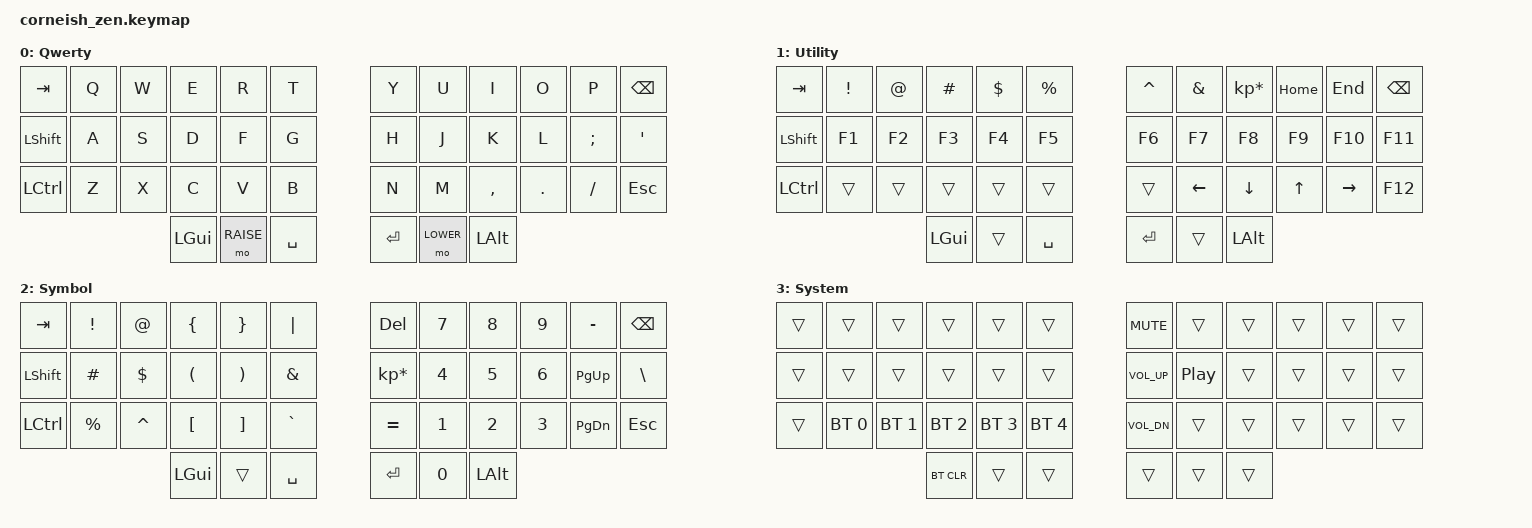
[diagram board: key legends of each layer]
#include <behaviors.dtsi>
#include <dt-bindings/zmk/keys.h>
#include <dt-bindings/zmk/bt.h>

#define DEFAULT 0
#define LOWER   1
#define RAISE   2
#define SYSTEM  3

/ {
  chosen {
    zmk,matrix_transform = &default_transform;
  };
};

/ {
    conditional_layers {
        compatible = "zmk,conditional-layers";
        tri_layer {
            if-layers = <LOWER RAISE>;
            then-layer = <SYSTEM>;
        };
    };
};

/ {

        keymap {
                compatible = "zmk,keymap";

                default_layer {
                        label = "Qwerty";

   //     -----------------------------------------------------------------------------------------
   //     |  TAB |  Q  |  W  |  E  |  R  |  T  |            |  Y  |  U   |  I  |  O  |  P  | BKSP |
   //     | CTRL |  A  |  S  |  D  |  F  |  G  |            |  H  |  J   |  K  |  L  |  ;  |  '   |
   //     | SHFT |  Z  |  X  |  C  |  V  |  B  |            |  N  |  M   |  ,  |  .  |  /  | ESC  |
   //                        | GUI | LWR | SPC |            | ENT | RSE  | ALT |

                        bindings = <

   &kp TAB    &kp Q  &kp W  &kp E     &kp R      &kp T          &kp Y    &kp U      &kp I      &kp O    &kp P     &kp BSPC
   &kp LSHFT  &kp A  &kp S  &kp D     &kp F      &kp G          &kp H    &kp J      &kp K      &kp L    &kp SEMI  &kp SQT
   &kp LCTRL  &kp Z  &kp X  &kp C     &kp V      &kp B          &kp N    &kp M      &kp COMMA  &kp DOT  &kp FSLH  &kp ESC
                            &kp LGUI  &mo RAISE  &kp SPACE      &kp RET  &mo LOWER  &kp LALT

                        >;
                };

                lower_layer {
                        label = "Utility";

                        bindings = <

   &kp TAB     &kp EXCL  &kp AT   &kp HASH   &kp DLLR   &kp PRCNT       &kp CARET &kp AMPS  &kp KP_MULTIPLY &kp HOME &kp END   &kp BSPC
   &kp LSHFT   &kp F1    &kp F2   &kp F3     &kp F4     &kp F5          &kp F6    &kp F7    &kp F8          &kp F9   &kp F10   &kp F11 
   &kp LCTRL   &trans    &trans   &trans     &trans     &trans          &trans    &kp LEFT  &kp DOWN        &kp UP   &kp RIGHT &kp F12
                                  &kp LGUI   &trans     &kp SPACE       &kp RET   &trans    &kp LALT
                        >;
                };

                raise_layer {
                        label = "Symbol";

                        bindings = <

   &kp TAB    &kp EXCL   &kp AT    &kp LBRC   &kp RBRC   &kp PIPE        &kp DEL         &kp N7  &kp N8  &kp N9  &kp MINUS  &kp BSPC
   &kp LSHFT  &kp HASH   &kp DLLR  &kp LPAR   &kp RPAR   &kp AMPS        &kp KP_MULTIPLY &kp N4  &kp N5  &kp N6  &kp PG_UP  &kp BSLH
   &kp LCTRL  &kp PRCNT  &kp CARET &kp LBKT   &kp RBKT   &kp GRAVE       &kp EQUAL       &kp N1  &kp N2  &kp N3  &kp PG_DN  &kp ESC
                    	           &kp LGUI   &trans     &kp SPACE       &kp RET         &kp N0  &kp LALT
                        >;
                };

                system_layer {
                        label = "System";

                        bindings = <

   &trans    &trans        &trans       &trans        &trans        &trans             &kp C_MUTE    &trans            &trans  &trans  &trans  &trans
   &trans    &trans        &trans       &trans        &trans        &trans             &kp C_VOL_UP  &kp C_PLAY_PAUSE  &trans  &trans  &trans  &trans
   &trans    &bt BT_SEL 0  &bt BT_SEL 1 &bt BT_SEL 2  &bt BT_SEL 3  &bt BT_SEL 4       &kp C_VOL_DN  &trans            &trans  &trans  &trans  &trans
                    	                &bt BT_CLR    &trans        &trans             &trans        &trans            &trans
                        >;
                };
        };
};
